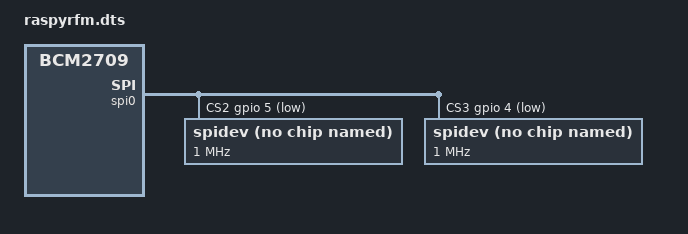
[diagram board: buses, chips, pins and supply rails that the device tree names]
/dts-v1/;
/plugin/;

/ {
    compatible = "brcm,bcm2835", "brcm,bcm2836", "brcm,bcm2708", "brcm,bcm2709";

    fragment@0 {
       target = <&spi0>;
       frag0: __overlay__ {
          #address-cells = <1>;
          #size-cells = <0>;
          pinctrl-0 = <&spi0_pins &spi0_cs_pins>;
          status = "okay";
          cs-gpios = <&gpio 8 1>, <&gpio 7 1>, <&gpio 5 1>, <&gpio 4 1>;

          spidev@2{
             compatible = "spidev";
             reg = <2>;   /* CE2 */
             #address-cells = <1>;
             #size-cells = <0>;
             spi-max-frequency = <1000000>;
          };

          spidev@3{
             compatible = "spidev";
             reg = <3>;   /* CE3 */
             #address-cells = <1>;
             #size-cells = <0>;
             spi-max-frequency = <1000000>;
          };
       };
    };

    fragment@1 {
       target = <&gpio>;
       __overlay__ {
          spi0_cs_pins: spi0_cs_pins {
             brcm,pins = <8 7 5 4>;
             brcm,function = <1>; /* out */
          };
       };
    };

    __overrides__ {
       cs0_pin = <&frag0>,"cs-gpios:4", <&spi0_cs_pins>,"brcm,pins:0";
       cs1_pin = <&frag0>,"cs-gpios:16", <&spi0_cs_pins>,"brcm,pins:4";
       cs2_pin = <&frag0>,"cs-gpios:28", <&spi0_cs_pins>,"brcm,pins:8";
       cs3_pin = <&frag0>,"cs-gpios:40", <&spi0_cs_pins>,"brcm,pins:12";
    };
};
